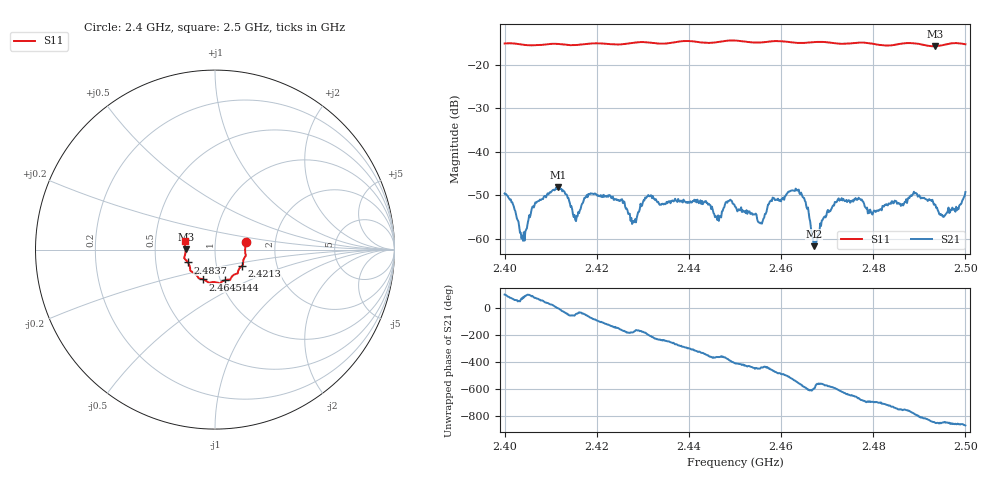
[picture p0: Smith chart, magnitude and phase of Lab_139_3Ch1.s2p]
# Hz S RI R 50
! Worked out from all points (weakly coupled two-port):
!   601 points, 2.4 GHz to 2.5 GHz, reference 50 ohm
!   highest |S21| = -48.17 dB at 2.4117 GHz (marker M1); lowest = -61.7 dB at 2.4672 GHz (marker M2)
!   lowest |S11| = -15.7 dB at 2.4935 GHz (marker M3), VSWR 1.39, Z = 35.9 + j0.29 ohm
!   |S11| at or under -10 dB: start of sweep to end of sweep
!   S12 and S22 are empty: the file has one direction only
!   S11 on the Smith chart (normalised r, x): 2.4 GHz: 1.41, +0.12; 2.4213 GHz: 1.33, -0.25; 2.444 GHz: 1.06, -0.37; 2.4645 GHz: 0.83, -0.29; 2.4837 GHz: 0.73, -0.11; 2.5 GHz: 0.71, +0.07
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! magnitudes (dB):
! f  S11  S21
! 2.4 GHz  -15.1  -49.6
! 2.4038 GHz  -15.3  -59.3
! 2.4065 GHz  -15.5  -52.3
! 2.4117 GHz  -15.2  -48.2
! 2.4153 GHz  -15.5  -55.6
! 2.4167 GHz  -15.3  -52.3
! 2.4213 GHz  -15.1  -50.4
! 2.428 GHz  -14.9  -56.2
! 2.431 GHz  -14.8  -50.3
! 2.4333 GHz  -15.1  -51.5
! 2.444 GHz  -15.0  -51.7
! 2.45 GHz  -14.4  -52.6
! 2.4555 GHz  -14.8  -56.5
! 2.458 GHz  -14.6  -51.3
! 2.4645 GHz  -15.0  -49.8
! 2.4667 GHz  -14.8  -58.9
! 2.4672 GHz  -14.8  -61.7
! 2.4727 GHz  -15.1  -51.2
! 2.4833 GHz  -15.6  -51.9
! 2.4837 GHz  -15.5  -51.9
! 2.4935 GHz  -15.7  -52.2
! 2.5 GHz  -15.3  -49.2
